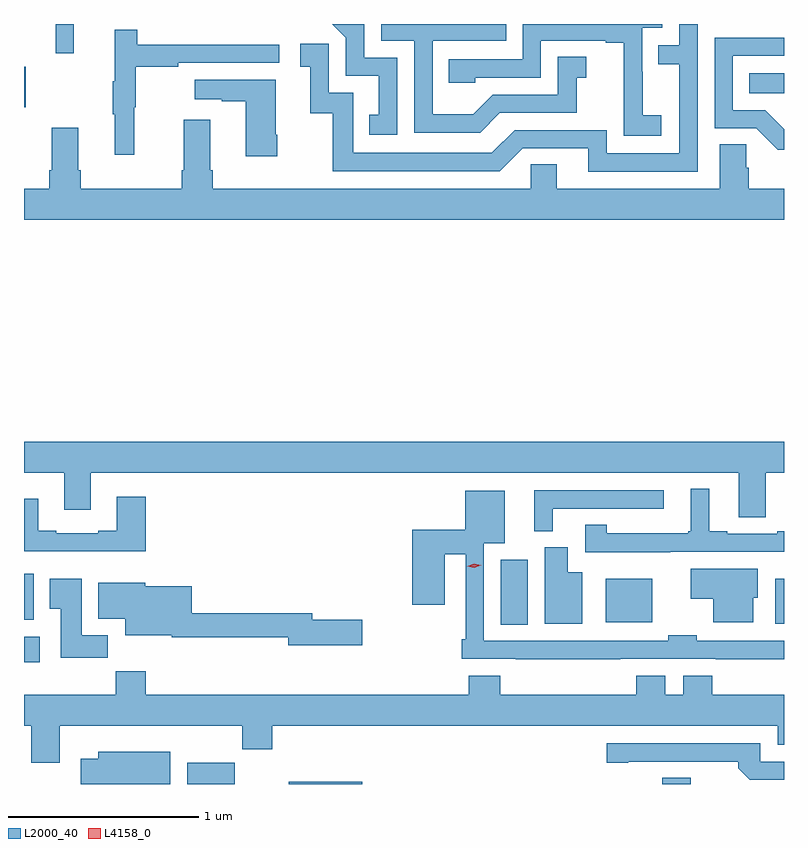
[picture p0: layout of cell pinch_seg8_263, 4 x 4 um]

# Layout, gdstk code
import gdstk
lib = gdstk.Library(unit=1e-6, precision=1e-09)
def R(c, l, rs):  # rectangles x0, y0, x1, y1
    for r in rs: c.add(gdstk.rectangle(r[:2], r[2:], *l))
def P(c, l, *ps):  # polygons
    for p in ps: c.add(gdstk.Polygon(p, *l))
L2000_40 = (2000, 40)
L4158_0 = (4158, 0)

pinch_seg8_263 = lib.new_cell('pinch_seg8_263')
R(pinch_seg8_263, L2000_40, [(580.175,1157.486,580.424,1157.598), (580.71,1157.486,581.095,1157.499), (582.674,1157.486,582.826,1157.519), (579.316,1158.128,579.4,1158.262), (581.825,1158.325,581.968,1158.667), (583.271,1158.329,583.316,1158.565), (582.377,1158.338,582.622,1158.565), (579.316,1158.35,579.367,1158.592), (579.316,1161.047,579.324,1161.261), (583.132,1161.122,583.316,1161.226), (579.482,1161.333,579.579,1161.486)])
P(pinch_seg8_263, L2000_40, [(582.861,1161.486),(582.765,1161.486),(582.765,1161.375),(582.655,1161.375),(582.655,1161.274),(582.765,1161.274),(582.765,1160.805),(582.384,1160.805),(582.384,1160.928),(581.898,1160.928),(581.778,1160.808),(581.049,1160.808),(581.049,1161.123),(580.92,1161.123),(580.92,1161.382),(580.77,1161.382),(580.77,1161.261),(580.823,1161.261),(580.823,1161.015),(580.941,1161.015),(580.941,1160.712),(581.82,1160.712),(581.94,1160.832),(582.287,1160.832),(582.287,1160.709),(582.861,1160.709)],
  [(581.821,1161.018),(582.225,1161.018),(582.225,1161.203),(582.274,1161.203),(582.274,1161.313),(582.126,1161.313),(582.126,1161.114),(581.784,1161.114),(581.68,1161.01),(581.466,1161.01),(581.466,1161.399),(581.855,1161.399),(581.855,1161.486),(581.196,1161.486),(581.196,1161.399),(581.37,1161.399),(581.37,1160.913),(581.716,1160.913)],
  [(582.67,1161.007),(582.572,1161.007),(582.572,1161.236),(582.57,1161.236),(582.57,1161.465),(582.675,1161.465),(582.675,1161.486),(581.94,1161.486),(581.94,1161.3),(581.551,1161.3),(581.551,1161.177),(581.691,1161.177),(581.691,1161.204),(582.036,1161.204),(582.036,1161.399),(582.377,1161.399),(582.377,1161.387),(582.473,1161.387),(582.473,1161.103),(582.472,1161.103),(582.472,1160.897),(582.67,1160.897)],
  [(581.28,1161.309),(581.106,1161.309),(581.106,1161.486),(580.938,1161.486),(581.01,1161.414),(581.01,1161.213),(581.183,1161.213),(581.183,1161.009),(581.134,1161.009),(581.134,1160.904),(581.28,1160.904)],
  [(579.896,1161.048),(579.904,1161.048),(579.904,1161.262),(580.127,1161.262),(580.127,1161.282),(580.66,1161.282),(580.66,1161.378),(579.911,1161.378),(579.911,1161.457),(579.794,1161.457),(579.794,1161.185),(579.783,1161.185),(579.783,1161.011),(579.794,1161.011),(579.794,1160.799),(579.896,1160.799)],
  [(583.316,1160.933),(583.216,1161.033),(583.047,1161.033),(583.047,1161.318),(583.316,1161.318),(583.316,1161.414),(582.951,1161.414),(582.951,1160.937),(583.17,1160.937),(583.283,1160.825),(583.316,1160.825)],
  [(580.65,1160.902),(580.642,1160.902),(580.642,1161.193),(580.215,1161.193),(580.215,1161.089),(580.358,1161.089),(580.358,1161.079),(580.484,1161.079),(580.484,1160.79),(580.65,1160.79)],
  [(583.316,1160.62),(583.13,1160.62),(583.13,1160.729),(583.116,1160.729),(583.116,1160.852),(582.977,1160.852),(582.977,1160.62),(582.121,1160.62),(582.121,1160.747),(581.982,1160.747),(581.982,1160.62),(580.31,1160.62),(580.31,1160.716),(580.297,1160.716),(580.297,1160.983),(580.157,1160.983),(580.157,1160.716),(580.145,1160.716),(580.145,1160.62),(579.614,1160.62),(579.614,1160.716),(579.601,1160.716),(579.601,1160.941),(579.461,1160.941),(579.461,1160.716),(579.449,1160.716),(579.449,1160.62),(579.316,1160.62),(579.316,1160.456),(583.316,1160.456)],
  [(583.219,1159.124),(583.316,1159.124),(583.316,1159.288),(579.316,1159.288),(579.316,1159.124),(579.527,1159.124),(579.527,1158.93),(579.667,1158.93),(579.667,1159.124),(583.079,1159.124),(583.079,1158.889),(583.219,1158.889)],
  [(582.718,1158.708),(583.316,1158.708),(583.316,1158.817),(583.28,1158.817),(583.28,1158.804),(583.018,1158.804),(583.018,1158.817),(582.922,1158.817),(582.922,1159.039),(582.824,1159.039),(582.824,1158.817),(582.813,1158.817),(582.813,1158.805),(582.383,1158.805),(582.383,1158.851),(582.27,1158.851),(582.27,1158.707),(582.718,1158.707)],
  [(582.1,1158.936),(582.682,1158.936),(582.682,1159.032),(582.002,1159.032),(582.002,1158.817),(582.1,1158.817)],
  [(582.455,1158.144),(582.958,1158.144),(582.958,1158.143),(583.316,1158.143),(583.316,1158.24),(582.858,1158.24),(582.858,1158.268),(582.708,1158.268),(582.708,1158.24),(581.736,1158.24),(581.736,1158.752),(581.845,1158.752),(581.845,1159.03),(581.639,1159.03),(581.639,1158.823),(581.36,1158.823),(581.36,1158.429),(581.53,1158.429),(581.53,1158.694),(581.64,1158.694),(581.64,1158.247),(581.62,1158.247),(581.62,1158.144),(581.905,1158.144),(581.905,1158.143),(582.455,1158.143)],
  [(579.956,1158.997),(579.803,1158.997),(579.803,1158.82),(579.707,1158.82),(579.707,1158.807),(579.487,1158.807),(579.487,1158.82),(579.391,1158.82),(579.391,1158.988),(579.316,1158.988),(579.316,1158.71),(579.956,1158.71)],
  [(582.253,1158.601),(582.178,1158.601),(582.178,1158.732),(582.056,1158.732),(582.056,1158.329),(582.253,1158.329)],
  [(583.153,1158.465),(583.177,1158.465),(583.177,1158.619),(582.825,1158.619),(582.825,1158.461),(582.944,1158.461),(582.944,1158.338),(583.153,1158.338)],
  [(579.758,1158.268),(579.619,1158.268),(579.619,1158.565),(579.452,1158.565),(579.452,1158.409),(579.509,1158.409),(579.509,1158.15),(579.758,1158.15)],
  [(581.095,1158.35),(580.834,1158.35),(580.834,1158.386),(580.198,1158.386),(580.198,1158.526),(579.954,1158.526),(579.954,1158.544),(579.707,1158.544),(579.707,1158.356),(579.848,1158.356),(579.848,1158.269),(580.094,1158.269),(580.094,1158.258),(580.706,1158.258),(580.706,1158.215),(581.095,1158.215)],
  [(579.505,1157.792),(580.465,1157.792),(580.465,1157.668),(580.622,1157.668),(580.622,1157.792),(583.283,1157.792),(583.283,1157.693),(583.316,1157.693),(583.316,1157.956),(582.938,1157.956),(582.938,1158.055),(582.785,1158.055),(582.785,1157.956),(582.691,1157.956),(582.691,1158.055),(582.539,1158.055),(582.539,1157.956),(581.822,1157.956),(581.822,1158.055),(581.657,1158.055),(581.657,1157.956),(579.956,1157.956),(579.956,1158.08),(579.799,1158.08),(579.799,1157.956),(579.316,1157.956),(579.316,1157.792),(579.353,1157.792),(579.353,1157.598),(579.505,1157.598)],
  [(583.316,1157.604),(583.191,1157.604),(583.191,1157.7),(582.384,1157.7),(582.384,1157.599),(582.496,1157.599),(582.496,1157.604),(583.076,1157.604),(583.076,1157.57),(583.137,1157.508),(583.316,1157.508)],
  [(580.087,1157.656),(579.707,1157.656),(579.707,1157.62),(579.614,1157.62),(579.614,1157.486),(580.087,1157.486)])
P(pinch_seg8_263, L4158_0, [(581.686,1158.625),(581.65,1158.633),(581.65,1158.633),(581.65,1158.633),(581.685,1158.645),(581.721,1158.638),(581.722,1158.638),(581.721,1158.638)])

lib.write_gds('pinch_seg8_263.gds')
